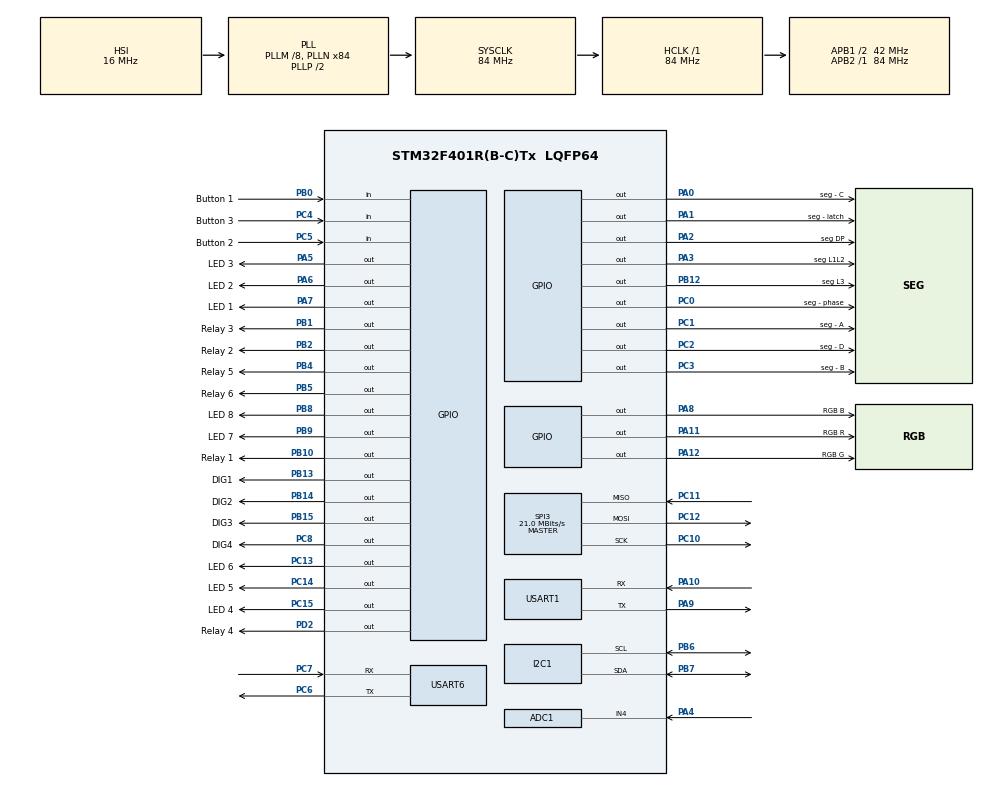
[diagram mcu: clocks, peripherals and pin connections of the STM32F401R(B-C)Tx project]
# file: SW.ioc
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ADC1.Channel-0\#ChannelRegularConversion=ADC_CHANNEL_4
ADC1.ClockPrescaler=ADC_CLOCK_SYNC_PCLK_DIV8
ADC1.ContinuousConvMode=ENABLE
ADC1.DMAContinuousRequests=ENABLE
ADC1.NbrOfConversionFlag=1
ADC1.Rank-0\#ChannelRegularConversion=1
ADC1.SamplingTime-0\#ChannelRegularConversion=ADC_SAMPLETIME_480CYCLES
ADC1.ScanConvMode=ENABLE
ADC1.master=1
Dma.ADC1.0.Direction=DMA_PERIPH_TO_MEMORY
Dma.ADC1.0.FIFOMode=DMA_FIFOMODE_DISABLE
Dma.ADC1.0.Instance=DMA2_Stream0
Dma.ADC1.0.MemDataAlignment=DMA_MDATAALIGN_WORD
Dma.ADC1.0.MemInc=DMA_MINC_ENABLE
Dma.ADC1.0.Mode=DMA_CIRCULAR
Dma.ADC1.0.PeriphDataAlignment=DMA_PDATAALIGN_WORD
Dma.ADC1.0.PeriphInc=DMA_PINC_DISABLE
Dma.ADC1.0.Priority=DMA_PRIORITY_LOW
Dma.Request0=ADC1
Mcu.Family=STM32F4
Mcu.Name=STM32F401R(B-C)Tx
Mcu.Package=LQFP64
NVIC.DMA2_Stream0_IRQn=true\:0\:0\:false\:false\:true\:false\:true
NVIC.PriorityGroup=NVIC_PRIORITYGROUP_4
NVIC.USART1_IRQn=true\:0\:0\:false\:false\:true\:true\:true
NVIC.USART6_IRQn=true\:0\:0\:false\:false\:true\:true\:true
PA0-WKUP.GPIO_Label=seg - C
PA0-WKUP.Signal=GPIO_Output
PA1.GPIO_Label=seg - latch
PA1.Signal=GPIO_Output
PA10.Mode=Asynchronous
PA10.Signal=USART1_RX
PA11.GPIO_Label=RGB R
PA11.Signal=GPIO_Output
PA12.GPIO_Label=RGB G
PA12.Signal=GPIO_Output
PA13.Mode=Serial_Wire
PA13.Signal=SYS_JTMS-SWDIO
PA14.Mode=Serial_Wire
PA14.Signal=SYS_JTCK-SWCLK
PA15.Signal=SYS_JTDI
PA2.GPIO_Label=seg DP
PA2.Signal=GPIO_Output
PA3.GPIO_Label=seg L1L2
PA3.Signal=GPIO_Output
PA4.Signal=ADCx_IN4
PA5.GPIO_Label=LED 3
PA5.Signal=GPIO_Output
PA6.GPIO_Label=LED 2
PA6.Signal=GPIO_Output
PA7.GPIO_Label=LED 1
PA7.Signal=GPIO_Output
PA8.GPIO_Label=RGB B
PA8.Signal=GPIO_Output
PA9.Mode=Asynchronous
PA9.Signal=USART1_TX
PB0.GPIO_Label=Button 1
PB0.Signal=GPIO_Input
PB1.GPIO_Label=Relay 3
PB1.Signal=GPIO_Output
PB10.GPIO_Label=Relay 1
PB10.Signal=GPIO_Output
PB12.GPIO_Label=seg L3
PB12.Signal=GPIO_Output
PB13.GPIO_Label=DIG1
PB13.Signal=GPIO_Output
PB14.GPIO_Label=DIG2
PB14.Signal=GPIO_Output
PB15.GPIO_Label=DIG3
PB15.Signal=GPIO_Output
PB2.GPIO_Label=Relay 2
PB2.Signal=GPIO_Output
PB3.Signal=SYS_JTDO-SWO
PB4.GPIO_Label=Relay 5
PB4.Signal=GPIO_Output
PB5.GPIO_Label=Relay 6
PB5.Signal=GPIO_Output
PB6.Mode=I2C
PB6.Signal=I2C1_SCL
PB7.Mode=I2C
PB7.Signal=I2C1_SDA
PB8.GPIO_Label=LED 8
PB8.Signal=GPIO_Output
PB9.GPIO_Label=LED 7
PB9.Signal=GPIO_Output
PC0.GPIO_Label=seg - phase
PC0.Signal=GPIO_Output
PC1.GPIO_Label=seg - A
PC1.Signal=GPIO_Output
PC10.Mode=Full_Duplex_Master
PC10.Signal=SPI3_SCK
PC11.Mode=Full_Duplex_Master
PC11.Signal=SPI3_MISO
PC12.Mode=Full_Duplex_Master
PC12.Signal=SPI3_MOSI
PC13-ANTI_TAMP.GPIO_Label=LED 6
PC13-ANTI_TAMP.Signal=GPIO_Output
PC14-OSC32_IN.GPIO_Label=LED 5
PC14-OSC32_IN.Signal=GPIO_Output
PC15-OSC32_OUT.GPIO_Label=LED 4
PC15-OSC32_OUT.Signal=GPIO_Output
PC2.GPIO_Label=seg - D
PC2.Signal=GPIO_Output
PC3.GPIO_Label=seg - B
PC3.Signal=GPIO_Output
PC4.GPIO_Label=Button 3
PC4.Signal=GPIO_Input
PC5.GPIO_Label=Button 2
PC5.Signal=GPIO_Input
PC6.Mode=Asynchronous
PC6.Signal=USART6_TX
PC7.Mode=Asynchronous
PC7.Signal=USART6_RX
PC8.GPIO_Label=DIG4
PC8.Signal=GPIO_Output
PD2.GPIO_Label=Relay 4
PD2.Signal=GPIO_Output
PH0\ -\ OSC_IN.Mode=HSE-External-Oscillator
PH0\ -\ OSC_IN.Signal=RCC_OSC_IN
PH1\ -\ OSC_OUT.Mode=HSE-External-Oscillator
PH1\ -\ OSC_OUT.Signal=RCC_OSC_OUT
ProjectManager.HeapSize=0x200
ProjectManager.StackSize=0x400
ProjectManager.TargetToolchain=MDK-ARM V5.27
RCC.48MHZClocksFreq_Value=42000000
RCC.AHBFreq_Value=84000000
RCC.APB1CLKDivider=RCC_HCLK_DIV2
RCC.APB1Freq_Value=42000000
RCC.APB1TimFreq_Value=84000000
RCC.APB2Freq_Value=84000000
RCC.APB2TimFreq_Value=84000000
RCC.CortexFreq_Value=84000000
RCC.HCLKFreq_Value=84000000
RCC.HSE_VALUE=26000000
RCC.HSI_VALUE=16000000
RCC.LSE_VALUE=32768
RCC.PLLM=8
RCC.PLLN=84
RCC.SYSCLKFreq_VALUE=84000000
RCC.SYSCLKSource=RCC_SYSCLKSOURCE_PLLCLK
RCC.VCOOutputFreq_Value=168000000
SH.ADCx_IN4.0=ADC1_IN4,IN4
SPI3.CalculateBaudRate=21.0 MBits/s
SPI3.Direction=SPI_DIRECTION_2LINES
SPI3.Mode=SPI_MODE_MASTER
SPI3.VirtualType=VM_MASTER
USART1.VirtualMode=VM_ASYNC
USART6.VirtualMode=VM_ASYNC
board=custom

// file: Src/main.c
/* USER CODE BEGIN Header */
/**
  ******************************************************************************
  * @file           : main.c
  * @brief          : Main program body
  ******************************************************************************
  * @attention
  *
  * <h2><center>&copy; Copyright (c) 2020 STMicroelectronics.
  * All rights reserved.</center></h2>
  *
  * This software component is licensed by ST under BSD 3-Clause license,
  * the "License"; You may not use this file except in compliance with the
  * License. You may obtain a copy of the License at:
  *                        opensource.org/licenses/BSD-3-Clause
  *
  ******************************************************************************
  */
/* USER CODE END Header */

#include "main.h"

/* USER CODE BEGIN Includes */
#include "COM.h"
#include "CMDHandler.h"
#include "additional.h"
/* USER CODE END Includes */

ADC_HandleTypeDef hadc1;
DMA_HandleTypeDef hdma_adc1;

I2C_HandleTypeDef hi2c1;

SPI_HandleTypeDef hspi3;

UART_HandleTypeDef huart1;
UART_HandleTypeDef huart6;

void SystemClock_Config(void);
static void MX_GPIO_Init(void);
static void MX_USART1_UART_Init(void);
static void MX_ADC1_Init(void);
static void MX_I2C1_Init(void);
static void MX_SPI3_Init(void);
static void MX_USART6_UART_Init(void);
static void MX_DMA_Init(void);

/* USER CODE BEGIN 0 */

char rx_rs_buff[1];
char rx_com_buff[1];

uint32_t ADCvalues[1];
/* USER CODE END 0 */

int main(void)
{

  /* MCU Configuration--------------------------------------------------------*/

  /* Reset of all peripherals, Initializes the Flash interface and the Systick. */
  HAL_Init();

  /* Configure the system clock */
  SystemClock_Config();

  /* Initialize all configured peripherals */
  MX_GPIO_Init();
  MX_USART1_UART_Init();
	MX_DMA_Init();
  MX_ADC1_Init();
  MX_I2C1_Init();
  MX_SPI3_Init();
  MX_USART6_UART_Init();

  /* USER CODE BEGIN 2 */
	//localtemp(0,1,1);
	HAL_ADC_Start_DMA(&hadc1,ADCvalues, 1);
	//HAL_ADC_Start(&hadc1);

	HAL_UART_Receive_IT(&huart1,(uint8_t*)rx_rs_buff,1);
	HAL_UART_Receive_IT(&huart6,(uint8_t*)rx_com_buff,1);

  /* USER CODE END 2 */

  /* Infinite loop */
  /* USER CODE BEGIN WHILE */

	RS_TX("rdy;");
	init_seg();
	//UseSeg(1,1,2,3,4,0,1,0);
  while (1)
  {
		UseSeg(0,0,0,0,0,0,0,0);
		CH_HANDLER(0,"",0);
		button();
    /* USER CODE END WHILE */

  }
}

void SystemClock_Config(void)
{
  RCC_OscInitTypeDef RCC_OscInitStruct = {0};
  RCC_ClkInitTypeDef RCC_ClkInitStruct = {0};

  /** Configure the main internal regulator output voltage
  */
  __HAL_RCC_PWR_CLK_ENABLE();
  __HAL_PWR_VOLTAGESCALING_CONFIG(PWR_REGULATOR_VOLTAGE_SCALE2);
  /** Initializes the CPU, AHB and APB busses clocks
  */
  RCC_OscInitStruct.OscillatorType = RCC_OSCILLATORTYPE_HSI;
  RCC_OscInitStruct.HSIState = RCC_HSI_ON;
  RCC_OscInitStruct.HSICalibrationValue = RCC_HSICALIBRATION_DEFAULT;
  RCC_OscInitStruct.PLL.PLLState = RCC_PLL_ON;
  RCC_OscInitStruct.PLL.PLLSource = RCC_PLLSOURCE_HSI;
  RCC_OscInitStruct.PLL.PLLM = 8;
  RCC_OscInitStruct.PLL.PLLN = 84;
  RCC_OscInitStruct.PLL.PLLP = RCC_PLLP_DIV2;
  RCC_OscInitStruct.PLL.PLLQ = 4;
  if (HAL_RCC_OscConfig(&RCC_OscInitStruct) != HAL_OK)
  {
    Error_Handler();
  }
  /** Initializes the CPU, AHB and APB busses clocks
  */
  RCC_ClkInitStruct.ClockType = RCC_CLOCKTYPE_HCLK|RCC_CLOCKTYPE_SYSCLK
                              |RCC_CLOCKTYPE_PCLK1|RCC_CLOCKTYPE_PCLK2;
  RCC_ClkInitStruct.SYSCLKSource = RCC_SYSCLKSOURCE_PLLCLK;
  RCC_ClkInitStruct.AHBCLKDivider = RCC_SYSCLK_DIV1;
  RCC_ClkInitStruct.APB1CLKDivider = RCC_HCLK_DIV2;
  RCC_ClkInitStruct.APB2CLKDivider = RCC_HCLK_DIV1;

  if (HAL_RCC_ClockConfig(&RCC_ClkInitStruct, FLASH_LATENCY_2) != HAL_OK)
  {
    Error_Handler();
  }
}

static void MX_ADC1_Init(void)
{

  ADC_ChannelConfTypeDef sConfig = {0};

  /** Configure the global features of the ADC (Clock, Resolution, Data Alignment and number of conversion)
  */
  hadc1.Instance = ADC1;
  hadc1.Init.ClockPrescaler = ADC_CLOCK_SYNC_PCLK_DIV8;
  hadc1.Init.Resolution = ADC_RESOLUTION_12B;
  hadc1.Init.ScanConvMode = ENABLE;
  hadc1.Init.ContinuousConvMode = ENABLE;
  hadc1.Init.DiscontinuousConvMode = DISABLE;
  hadc1.Init.ExternalTrigConvEdge = ADC_EXTERNALTRIGCONVEDGE_NONE;
  hadc1.Init.ExternalTrigConv = ADC_SOFTWARE_START;
  hadc1.Init.DataAlign = ADC_DATAALIGN_RIGHT;
  hadc1.Init.NbrOfConversion = 1;
  hadc1.Init.DMAContinuousRequests = ENABLE;
  hadc1.Init.EOCSelection = ADC_EOC_SINGLE_CONV;
  if (HAL_ADC_Init(&hadc1) != HAL_OK)
  {
    Error_Handler();
  }
  /** Configure for the selected ADC regular channel its corresponding rank in the sequencer and its sample time.
  */
  sConfig.Channel = ADC_CHANNEL_4;
  sConfig.Rank = 1;
  sConfig.SamplingTime = ADC_SAMPLETIME_480CYCLES;
  if (HAL_ADC_ConfigChannel(&hadc1, &sConfig) != HAL_OK)
  {
    Error_Handler();
  }

}

static void MX_I2C1_Init(void)
{

  hi2c1.Instance = I2C1;
  hi2c1.Init.ClockSpeed = 100000;
  hi2c1.Init.DutyCycle = I2C_DUTYCYCLE_2;
  hi2c1.Init.OwnAddress1 = 0;
  hi2c1.Init.AddressingMode = I2C_ADDRESSINGMODE_7BIT;
  hi2c1.Init.DualAddressMode = I2C_DUALADDRESS_DISABLE;
  hi2c1.Init.OwnAddress2 = 0;
  hi2c1.Init.GeneralCallMode = I2C_GENERALCALL_DISABLE;
  hi2c1.Init.NoStretchMode = I2C_NOSTRETCH_DISABLE;
  if (HAL_I2C_Init(&hi2c1) != HAL_OK)
  {
    Error_Handler();
  }

}

static void MX_SPI3_Init(void)
{

  /* SPI3 parameter configuration*/
  hspi3.Instance = SPI3;
  hspi3.Init.Mode = SPI_MODE_MASTER;
  hspi3.Init.Direction = SPI_DIRECTION_2LINES;
  hspi3.Init.DataSize = SPI_DATASIZE_8BIT;
  hspi3.Init.CLKPolarity = SPI_POLARITY_LOW;
  hspi3.Init.CLKPhase = SPI_PHASE_1EDGE;
  hspi3.Init.NSS = SPI_NSS_SOFT;
  hspi3.Init.BaudRatePrescaler = SPI_BAUDRATEPRESCALER_2;
  hspi3.Init.FirstBit = SPI_FIRSTBIT_MSB;
  hspi3.Init.TIMode = SPI_TIMODE_DISABLE;
  hspi3.Init.CRCCalculation = SPI_CRCCALCULATION_DISABLE;
  hspi3.Init.CRCPolynomial = 10;
  if (HAL_SPI_Init(&hspi3) != HAL_OK)
  {
    Error_Handler();
  }

}

static void MX_USART1_UART_Init(void)
{

  huart1.Instance = USART1;
  huart1.Init.BaudRate = 115200;
  huart1.Init.WordLength = UART_WORDLENGTH_8B;
  huart1.Init.StopBits = UART_STOPBITS_1;
  huart1.Init.Parity = UART_PARITY_NONE;
  huart1.Init.Mode = UART_MODE_TX_RX;
  huart1.Init.HwFlowCtl = UART_HWCONTROL_NONE;
  huart1.Init.OverSampling = UART_OVERSAMPLING_16;
  if (HAL_UART_Init(&huart1) != HAL_OK)
  {
    Error_Handler();
  }

}

static void MX_USART6_UART_Init(void)
{

  huart6.Instance = USART6;
  huart6.Init.BaudRate = 115200;
  huart6.Init.WordLength = UART_WORDLENGTH_8B;
  huart6.Init.StopBits = UART_STOPBITS_1;
  huart6.Init.Parity = UART_PARITY_NONE;
  huart6.Init.Mode = UART_MODE_TX_RX;
  huart6.Init.HwFlowCtl = UART_HWCONTROL_NONE;
  huart6.Init.OverSampling = UART_OVERSAMPLING_16;
  if (HAL_UART_Init(&huart6) != HAL_OK)
  {
    Error_Handler();
  }

}

static void MX_DMA_Init(void)
{

  /* DMA controller clock enable */
  __HAL_RCC_DMA2_CLK_ENABLE();

  /* DMA interrupt init */
  /* DMA2_Stream0_IRQn interrupt configuration */
  HAL_NVIC_SetPriority(DMA2_Stream0_IRQn, 0, 0);
  HAL_NVIC_EnableIRQ(DMA2_Stream0_IRQn);

}

static void MX_GPIO_Init(void)
{
  GPIO_InitTypeDef GPIO_InitStruct = {0};

  /* GPIO Ports Clock Enable */
  __HAL_RCC_GPIOC_CLK_ENABLE();
  __HAL_RCC_GPIOH_CLK_ENABLE();
  __HAL_RCC_GPIOA_CLK_ENABLE();
  __HAL_RCC_GPIOB_CLK_ENABLE();
  __HAL_RCC_GPIOD_CLK_ENABLE();

  /*Configure GPIO pin Output Level */
  HAL_GPIO_WritePin(GPIOC, LED_6_Pin|LED_5_Pin|LED_4_Pin|seg___phase_Pin
                          |seg___A_Pin|seg___D_Pin|seg___B_Pin|DIG4_Pin, GPIO_PIN_RESET);

  /*Configure GPIO pin Output Level */
  HAL_GPIO_WritePin(GPIOA, seg___C_Pin|seg___latch_Pin|seg_DP_Pin|seg_L1L2_Pin
                          |LED_3_Pin|LED_2_Pin|LED_1_Pin|RGB_B_Pin
                          |RGB_R_Pin|RGB_G_Pin, GPIO_PIN_RESET);

  /*Configure GPIO pin Output Level */
  HAL_GPIO_WritePin(GPIOB, Relay_3_Pin|Relay_2_Pin|Relay_1_Pin|seg_L3_Pin
                          |DIG1_Pin|DIG2_Pin|DIG3_Pin|Relay_5_Pin
                          |Relay_6_Pin|LED_8_Pin|LED_7_Pin, GPIO_PIN_RESET);

  /*Configure GPIO pin Output Level */
  HAL_GPIO_WritePin(Relay_4_GPIO_Port, Relay_4_Pin, GPIO_PIN_RESET);

  /*Configure GPIO pins : LED_6_Pin LED_5_Pin LED_4_Pin seg___phase_Pin
                           seg___A_Pin seg___D_Pin seg___B_Pin DIG4_Pin */
  GPIO_InitStruct.Pin = LED_6_Pin|LED_5_Pin|LED_4_Pin|seg___phase_Pin
                          |seg___A_Pin|seg___D_Pin|seg___B_Pin|DIG4_Pin;
  GPIO_InitStruct.Mode = GPIO_MODE_OUTPUT_PP;
  GPIO_InitStruct.Pull = GPIO_NOPULL;
  GPIO_InitStruct.Speed = GPIO_SPEED_FREQ_LOW;
  HAL_GPIO_Init(GPIOC, &GPIO_InitStruct);

  /*Configure GPIO pins : seg___C_Pin seg___latch_Pin seg_DP_Pin seg_L1L2_Pin
                           LED_3_Pin LED_2_Pin LED_1_Pin RGB_B_Pin
                           RGB_R_Pin RGB_G_Pin */
  GPIO_InitStruct.Pin = seg___C_Pin|seg___latch_Pin|seg_DP_Pin|seg_L1L2_Pin
                          |LED_3_Pin|LED_2_Pin|LED_1_Pin|RGB_B_Pin
                          |RGB_R_Pin|RGB_G_Pin;
  GPIO_InitStruct.Mode = GPIO_MODE_OUTPUT_PP;
  GPIO_InitStruct.Pull = GPIO_NOPULL;
  GPIO_InitStruct.Speed = GPIO_SPEED_FREQ_LOW;
  HAL_GPIO_Init(GPIOA, &GPIO_InitStruct);

  /*Configure GPIO pins : Button_3_Pin Button_2_Pin */
  GPIO_InitStruct.Pin = Button_3_Pin|Button_2_Pin;
  GPIO_InitStruct.Mode = GPIO_MODE_INPUT;
  GPIO_InitStruct.Pull = GPIO_NOPULL;
  HAL_GPIO_Init(GPIOC, &GPIO_InitStruct);

  /*Configure GPIO pin : Button_1_Pin */
  GPIO_InitStruct.Pin = Button_1_Pin;
  GPIO_InitStruct.Mode = GPIO_MODE_INPUT;
  GPIO_InitStruct.Pull = GPIO_NOPULL;
  HAL_GPIO_Init(Button_1_GPIO_Port, &GPIO_InitStruct);

  /*Configure GPIO pins : Relay_3_Pin Relay_2_Pin Relay_1_Pin seg_L3_Pin
                           DIG1_Pin DIG2_Pin DIG3_Pin Relay_5_Pin
                           Relay_6_Pin LED_8_Pin LED_7_Pin */
  GPIO_InitStruct.Pin = Relay_3_Pin|Relay_2_Pin|Relay_1_Pin|seg_L3_Pin
                          |DIG1_Pin|DIG2_Pin|DIG3_Pin|Relay_5_Pin
                          |Relay_6_Pin|LED_8_Pin|LED_7_Pin;
  GPIO_InitStruct.Mode = GPIO_MODE_OUTPUT_PP;
  GPIO_InitStruct.Pull = GPIO_NOPULL;
  GPIO_InitStruct.Speed = GPIO_SPEED_FREQ_LOW;
  HAL_GPIO_Init(GPIOB, &GPIO_InitStruct);

  /*Configure GPIO pin : Relay_4_Pin */
  GPIO_InitStruct.Pin = Relay_4_Pin;
  GPIO_InitStruct.Mode = GPIO_MODE_OUTPUT_PP;
  GPIO_InitStruct.Pull = GPIO_NOPULL;
  GPIO_InitStruct.Speed = GPIO_SPEED_FREQ_LOW;
  HAL_GPIO_Init(Relay_4_GPIO_Port, &GPIO_InitStruct);

}

/* USER CODE BEGIN 4 */
void HAL_UART_RxCpltCallback(UART_HandleTypeDef *huart)
	{
		if(huart->Instance==USART6)				//COM
		{
			CH_BUFFER(rx_com_buff, 6);
			HAL_UART_Receive_IT(&huart6,(uint8_t*)rx_com_buff,1);
		}
		if(huart->Instance==USART1)				//RS
		{
			CH_BUFFER(rx_rs_buff, 1);
			HAL_UART_Receive_IT(&huart1,(uint8_t*)rx_rs_buff,1);
		}

		//singleChar = alpha[0];
		//CH_BUFFER(&singleChar);
	}

void HAL_ADC_ConvCpltCallback( ADC_HandleTypeDef * hadc)
{
	localtemp(ADCvalues,0/*,0*/);
	HAL_ADC_Start_DMA(&hadc1,ADCvalues, 1);
	//HAL_ADC_Start(&hadc1);
}
/* USER CODE END 4 */

void Error_Handler(void)
{
}

/************************ (C) COPYRIGHT STMicroelectronics *****END OF FILE****/
